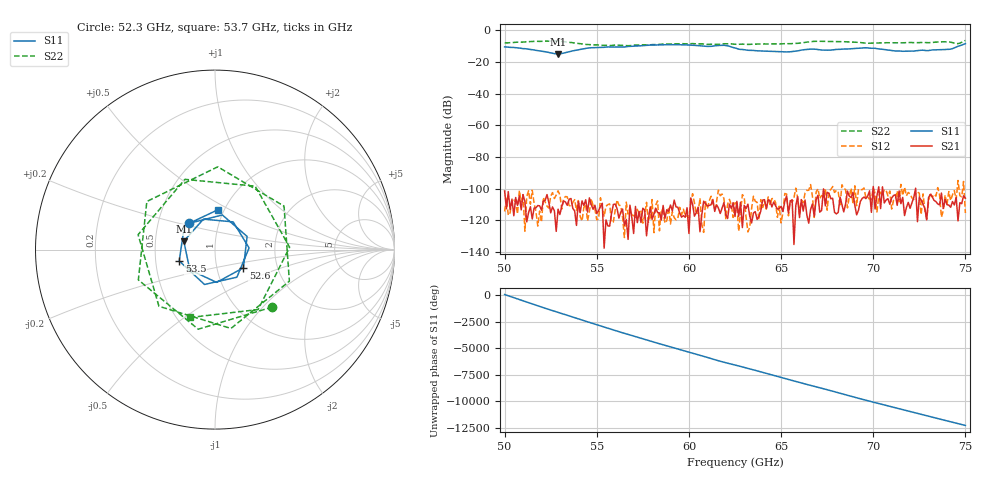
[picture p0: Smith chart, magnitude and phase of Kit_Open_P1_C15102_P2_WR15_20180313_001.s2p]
# Hz S RI R 50
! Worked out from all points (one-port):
!   251 points, 50 GHz to 75 GHz, reference 50 ohm
!   lowest |S11| = -14.9 dB at 52.9 GHz (marker M1), VSWR 1.44, Z = 35.1 + j3.42 ohm
!   |S11| at or under -10 dB: start of sweep to 57.11 GHz; 60.76 GHz to 61.32 GHz (560.9 MHz wide, 0.919 % of centre); 62.16 GHz to 74.63 GHz (12.47 GHz wide, 18.2 % of centre)
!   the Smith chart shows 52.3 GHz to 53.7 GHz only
!   S11 on the Smith chart (normalised r, x): 52.3 GHz: 0.72, +0.22; 52.6 GHz: 1.34, -0.28; 53.5 GHz: 0.66, -0.09; 53.7 GHz: 0.94, +0.44
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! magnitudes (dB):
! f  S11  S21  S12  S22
! 50 GHz  -10.5  -101.5  -114.5  -8.1
! 52.3 GHz  -13.8  -103.8  -111.1  -6.9
! 52.6 GHz  -14.5  -111.6  -102.6  -6.7
! 52.9 GHz  -14.9  -113.1  -101.5  -6.9
! 53.5 GHz  -13.6  -106.8  -110.7  -7.6
! 53.7 GHz  -13.0  -112.6  -108.8  -7.9
! 54.2 GHz  -11.9  -107.8  -120.6  -8.7
! 56.7 GHz  -10.2  -132.1  -116.2  -9.8
! 58.4 GHz  -9.3  -115.4  -126.8  -8.9
! 60.9 GHz  -10.2  -109.6  -108.2  -8.9
! 61.9 GHz  -9.5  -108.9  -106.4  -8.5
! 62.5 GHz  -11.2  -117.7  -109.1  -8.8
! 63.2 GHz  -12.6  -109.9  -127.5  -8.9
! 65.1 GHz  -13.7  -114.5  -115.0  -8.5
! 66.7 GHz  -11.9  -109.8  -104.8  -7.1
! 67.6 GHz  -12.6  -103.2  -101.7  -7.1
! 69.6 GHz  -11.0  -106.4  -105.8  -8.1
! 70.9 GHz  -12.7  -110.0  -101.6  -7.9
! 72.2 GHz  -13.2  -105.6  -106.9  -7.8
! 74.1 GHz  -12.1  -110.5  -101.9  -7.4
! 74.6 GHz  -10.1  -120.5  -94.9  -8.4
! 75 GHz  -8.4  -106.1  -115.5  -6.4
